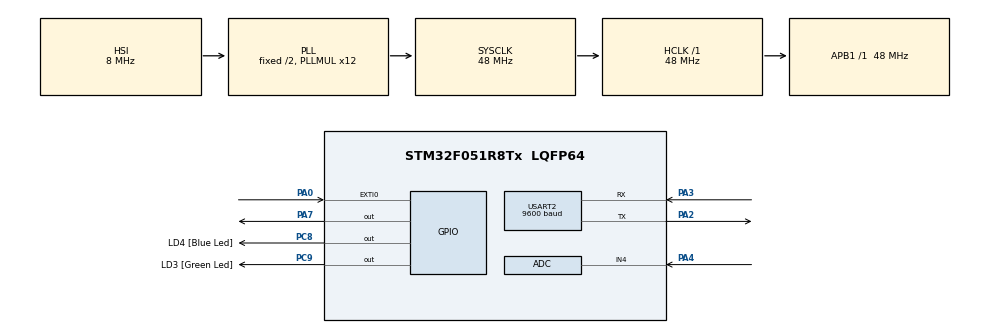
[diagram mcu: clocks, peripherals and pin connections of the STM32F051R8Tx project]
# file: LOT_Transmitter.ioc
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ADC.Resolution=ADC_RESOLUTION_8B
Mcu.Family=STM32F0
Mcu.Name=STM32F051R8Tx
Mcu.Package=LQFP64
NVIC.EXTI0_1_IRQn=true\:0\:0\:false\:false\:true\:true\:true\:true
NVIC.TIM3_IRQn=true\:0\:0\:false\:false\:true\:true\:true\:true
NVIC.USART2_IRQn=true\:0\:0\:false\:false\:true\:true\:true\:true
PA0.Signal=GPXTI0
PA13.GPIO_Label=SWDIO
PA13.Mode=Serial_Wire
PA13.Signal=SYS_SWDIO
PA14.GPIO_Label=SWCLK
PA14.Mode=Serial_Wire
PA14.Signal=SYS_SWCLK
PA2.Mode=Asynchronous
PA2.Signal=USART2_TX
PA3.Mode=Asynchronous
PA3.Signal=USART2_RX
PA4.Mode=IN4
PA4.Signal=ADC_IN4
PA7.GPIO_PuPd=GPIO_PULLDOWN
PA7.Signal=GPIO_Output
PC8.GPIO_Label=LD4 [Blue Led]
PC8.Signal=GPIO_Output
PC9.GPIO_Label=LD3 [Green Led]
PC9.Signal=GPIO_Output
ProjectManager.HeapSize=0x200
ProjectManager.StackSize=0x400
ProjectManager.TargetToolchain=STM32CubeIDE
RCC.AHBFreq_Value=48000000
RCC.APB1Freq_Value=48000000
RCC.APB1TimFreq_Value=48000000
RCC.HCLKFreq_Value=48000000
RCC.PLLMUL=RCC_PLL_MUL12
RCC.SYSCLKFreq_VALUE=48000000
RCC.SYSCLKSource=RCC_SYSCLKSOURCE_PLLCLK
TIM3.Period=10000
TIM3.Prescaler=4799
USART2.BaudRate=9600
USART2.VirtualMode-Asynchronous=VM_ASYNC
VP_TIM3_VS_ClockSourceINT.Mode=Internal
board=STM32F0DISCOVERY

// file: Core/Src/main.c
/* USER CODE BEGIN Header */
/**
  ******************************************************************************
  * @file           : main.c
  * @brief          : Main program body
  ******************************************************************************
  * @attention
  *
  * Copyright (c) 2022 STMicroelectronics.
  * All rights reserved.
  *
  * This software is licensed under terms that can be found in the LICENSE file
  * in the root directory of this software component.
  * If no LICENSE file comes with this software, it is provided AS-IS.
  *
  ******************************************************************************
  */
/* USER CODE END Header */
#include "main.h"

/* USER CODE BEGIN PD */

#define ADC_SAMPLE 1
#define NO_CHANGE 2
#define CHECKPOINT 3

#define BAUD_RATE 2

/* USER CODE END PD */

ADC_HandleTypeDef hadc;

TIM_HandleTypeDef htim3;

UART_HandleTypeDef huart2;

void SystemClock_Config(void);
static void MX_GPIO_Init(void);
static void MX_ADC_Init(void);
static void MX_USART2_UART_Init(void);
static void MX_TIM3_Init(void);
/* USER CODE BEGIN PFP */
void EXTI0_1_IRQHandler(void);
void TIM3_IRQHandler(void);
uint32_t pollADC(void);
/* USER CODE END PFP */

/* USER CODE BEGIN 0 */

// Global Variables

uint8_t buffer[64];

uint8_t MessageIndex = 0;
uint8_t MessageType = ADC_SAMPLE;
uint8_t Message[12];

int MessageCount = 0; //Counts the number of messages/ samples
uint8_t LastMessageVal=0;

int ButtonTime = 0;
uint8_t Bounce = 0;

uint16_t ARR = (10000/BAUD_RATE) - 1;

/* USER CODE END 0 */

int main(void)
{

  /* MCU Configuration--------------------------------------------------------*/

  /* Reset of all peripherals, Initializes the Flash interface and the Systick. */
  HAL_Init();

  /* Configure the system clock */
  SystemClock_Config();

  /* Initialize all configured peripherals */
  MX_GPIO_Init();
  MX_ADC_Init();
  MX_USART2_UART_Init();
  MX_TIM3_Init();

  /* Infinite loop */
  while (1)
  {

  }
}

void SystemClock_Config(void)
{
  RCC_OscInitTypeDef RCC_OscInitStruct = {0};
  RCC_ClkInitTypeDef RCC_ClkInitStruct = {0};

  /** Initializes the RCC Oscillators according to the specified parameters
  * in the RCC_OscInitTypeDef structure.
  */
  RCC_OscInitStruct.OscillatorType = RCC_OSCILLATORTYPE_HSI|RCC_OSCILLATORTYPE_HSI14;
  RCC_OscInitStruct.HSIState = RCC_HSI_ON;
  RCC_OscInitStruct.HSI14State = RCC_HSI14_ON;
  RCC_OscInitStruct.HSICalibrationValue = RCC_HSICALIBRATION_DEFAULT;
  RCC_OscInitStruct.HSI14CalibrationValue = 16;
  RCC_OscInitStruct.PLL.PLLState = RCC_PLL_ON;
  RCC_OscInitStruct.PLL.PLLSource = RCC_PLLSOURCE_HSI;
  RCC_OscInitStruct.PLL.PLLMUL = RCC_PLL_MUL12;
  RCC_OscInitStruct.PLL.PREDIV = RCC_PREDIV_DIV1;
  if (HAL_RCC_OscConfig(&RCC_OscInitStruct) != HAL_OK)
  {
    Error_Handler();
  }

  /** Initializes the CPU, AHB and APB buses clocks
  */
  RCC_ClkInitStruct.ClockType = RCC_CLOCKTYPE_HCLK|RCC_CLOCKTYPE_SYSCLK
                              |RCC_CLOCKTYPE_PCLK1;
  RCC_ClkInitStruct.SYSCLKSource = RCC_SYSCLKSOURCE_PLLCLK;
  RCC_ClkInitStruct.AHBCLKDivider = RCC_SYSCLK_DIV1;
  RCC_ClkInitStruct.APB1CLKDivider = RCC_HCLK_DIV1;

  if (HAL_RCC_ClockConfig(&RCC_ClkInitStruct, FLASH_LATENCY_1) != HAL_OK)
  {
    Error_Handler();
  }
}

static void MX_ADC_Init(void)
{

  ADC_ChannelConfTypeDef sConfig = {0};

  /** Configure the global features of the ADC (Clock, Resolution, Data Alignment and number of conversion)
  */
  hadc.Instance = ADC1;
  hadc.Init.ClockPrescaler = ADC_CLOCK_ASYNC_DIV1;
  hadc.Init.Resolution = ADC_RESOLUTION_8B;
  hadc.Init.DataAlign = ADC_DATAALIGN_RIGHT;
  hadc.Init.ScanConvMode = ADC_SCAN_DIRECTION_FORWARD;
  hadc.Init.EOCSelection = ADC_EOC_SINGLE_CONV;
  hadc.Init.LowPowerAutoWait = DISABLE;
  hadc.Init.LowPowerAutoPowerOff = DISABLE;
  hadc.Init.ContinuousConvMode = DISABLE;
  hadc.Init.DiscontinuousConvMode = DISABLE;
  hadc.Init.ExternalTrigConv = ADC_SOFTWARE_START;
  hadc.Init.ExternalTrigConvEdge = ADC_EXTERNALTRIGCONVEDGE_NONE;
  hadc.Init.DMAContinuousRequests = DISABLE;
  hadc.Init.Overrun = ADC_OVR_DATA_PRESERVED;
  if (HAL_ADC_Init(&hadc) != HAL_OK)
  {
    Error_Handler();
  }

  /** Configure for the selected ADC regular channel to be converted.
  */
  sConfig.Channel = ADC_CHANNEL_4;
  sConfig.Rank = ADC_RANK_CHANNEL_NUMBER;
  sConfig.SamplingTime = ADC_SAMPLETIME_1CYCLE_5;
  if (HAL_ADC_ConfigChannel(&hadc, &sConfig) != HAL_OK)
  {
    Error_Handler();
  }

}

static void MX_TIM3_Init(void)
{

  TIM_ClockConfigTypeDef sClockSourceConfig = {0};
  TIM_MasterConfigTypeDef sMasterConfig = {0};

  htim3.Instance = TIM3;
  htim3.Init.Prescaler = 4799;
  htim3.Init.CounterMode = TIM_COUNTERMODE_UP;
  htim3.Init.Period = ARR;
  htim3.Init.ClockDivision = TIM_CLOCKDIVISION_DIV1;
  htim3.Init.AutoReloadPreload = TIM_AUTORELOAD_PRELOAD_DISABLE;
  if (HAL_TIM_Base_Init(&htim3) != HAL_OK)
  {
    Error_Handler();
  }
  sClockSourceConfig.ClockSource = TIM_CLOCKSOURCE_INTERNAL;
  if (HAL_TIM_ConfigClockSource(&htim3, &sClockSourceConfig) != HAL_OK)
  {
    Error_Handler();
  }
  sMasterConfig.MasterOutputTrigger = TIM_TRGO_RESET;
  sMasterConfig.MasterSlaveMode = TIM_MASTERSLAVEMODE_DISABLE;
  if (HAL_TIMEx_MasterConfigSynchronization(&htim3, &sMasterConfig) != HAL_OK)
  {
    Error_Handler();
  }

}

static void MX_USART2_UART_Init(void)
{

  huart2.Instance = USART2;
  huart2.Init.BaudRate = 9600;
  huart2.Init.WordLength = UART_WORDLENGTH_8B;
  huart2.Init.StopBits = UART_STOPBITS_1;
  huart2.Init.Parity = UART_PARITY_NONE;
  huart2.Init.Mode = UART_MODE_TX_RX;
  huart2.Init.HwFlowCtl = UART_HWCONTROL_NONE;
  huart2.Init.OverSampling = UART_OVERSAMPLING_16;
  huart2.Init.OneBitSampling = UART_ONE_BIT_SAMPLE_DISABLE;
  huart2.AdvancedInit.AdvFeatureInit = UART_ADVFEATURE_NO_INIT;
  if (HAL_UART_Init(&huart2) != HAL_OK)
  {
    Error_Handler();
  }

}

static void MX_GPIO_Init(void)
{
  GPIO_InitTypeDef GPIO_InitStruct = {0};

  /* GPIO Ports Clock Enable */
  __HAL_RCC_GPIOA_CLK_ENABLE();
  __HAL_RCC_GPIOC_CLK_ENABLE();

  /*Configure GPIO pin Output Level */
  HAL_GPIO_WritePin(GPIOA, GPIO_PIN_7, GPIO_PIN_RESET);

  /*Configure GPIO pin Output Level */
  HAL_GPIO_WritePin(GPIOC, LD4_Pin|LD3_Pin, GPIO_PIN_RESET);

  /*Configure GPIO pin : PA0 */
  GPIO_InitStruct.Pin = GPIO_PIN_0;
  GPIO_InitStruct.Mode = GPIO_MODE_IT_RISING;
  GPIO_InitStruct.Pull = GPIO_NOPULL;
  HAL_GPIO_Init(GPIOA, &GPIO_InitStruct);

  /*Configure GPIO pin : PA7 */
  GPIO_InitStruct.Pin = GPIO_PIN_7;
  GPIO_InitStruct.Mode = GPIO_MODE_OUTPUT_PP;
  GPIO_InitStruct.Pull = GPIO_PULLDOWN;
  GPIO_InitStruct.Speed = GPIO_SPEED_FREQ_LOW;
  HAL_GPIO_Init(GPIOA, &GPIO_InitStruct);

  /*Configure GPIO pins : LD4_Pin LD3_Pin */
  GPIO_InitStruct.Pin = LD4_Pin|LD3_Pin;
  GPIO_InitStruct.Mode = GPIO_MODE_OUTPUT_PP;
  GPIO_InitStruct.Pull = GPIO_NOPULL;
  GPIO_InitStruct.Speed = GPIO_SPEED_FREQ_LOW;
  HAL_GPIO_Init(GPIOC, &GPIO_InitStruct);

  /* EXTI interrupt init*/
  HAL_NVIC_SetPriority(EXTI0_1_IRQn, 0, 0);
  HAL_NVIC_EnableIRQ(EXTI0_1_IRQn);

}

/* USER CODE BEGIN 4 */

void TIM3_IRQHandler(void)
{
  /* USER CODE BEGIN TIM3_IRQn 0 */

  HAL_TIM_IRQHandler(&htim3);
  //Stops the timer and the interruppt
  SendData();

  //Send data to a GPIO pin

/* USER CODE END TIM3_IRQn 0 */
/* USER CODE BEGIN TIM3_IRQn 1 */

  /* USER CODE END TIM3_IRQn 1 */
}

void EXTI0_1_IRQHandler(void)
{
  /* USER CODE BEGIN EXTI0_1_IRQn 0 */

  /* USER CODE END EXTI0_1_IRQn 0 */
  HAL_GPIO_EXTI_IRQHandler(GPIO_PIN_0);

  	if(HAL_GetTick() - ButtonTime > 300)
  	{
  		Bounce = 0;
  	}

  	if(Bounce == 0)
  	{
  		MessageCount++;  //Increment the number of messages sent

  		int val = pollADC();

  		sprintf(buffer, "Sensor Reading %d\n\r", val);
  		HAL_UART_Transmit(&huart2, buffer, sizeof(buffer), 1000);

  		MessageIndex = 0;
  		Message[0] = 1;		// Start Bit

  		MessageType = CheckMessageType(val); // Call the function to check the message type
  					// Set the last message val to the current value
  		LastMessageVal = val;
  		sprintf(buffer, "Message type:  %d\n\r", MessageType);
  		HAL_UART_Transmit(&huart2, buffer, sizeof(buffer), 1000);

  		if(MessageType == ADC_SAMPLE)
  		{
  			Message[1] = 0; // using chars for UART not the best method.
  			Message[2] = 0;
  		}
  		else if(MessageType == NO_CHANGE)
  		{
  			Message[1] = 0;
  			Message[2] = 1;
  		}
  		else if(MessageType == CHECKPOINT)
  		{
  			Message[1] = 1;
  			Message[2] = 0;
  		}

  		for(int i = 10; i > 2; i--)
  		{
  			Message[i] = (val%2);
  			val = val/2;
  		}
  		Message[11] = '\0'; // Terminating character
//  		clear(buffer);
//  		sprintf(buffer, "Message %s\n\r", ASCII(Message));
//  		HAL_UART_Transmit(&huart2, buffer, sizeof(buffer), 1000);
  		HAL_TIM_Base_Start_IT(&htim3);

  	}

  	ButtonTime = HAL_GetTick();
  	Bounce = 1;

  /* USER CODE BEGIN EXTI0_1_IRQn 1 */

  /* USER CODE END EXTI0_1_IRQn 1 */
}

int CheckMessageType(int val){
	//If the message count is a multiple of 10 then set the message type to CHECKPOINT
	if ((MessageCount%10) == 0){

		return CHECKPOINT;

	}else{
		// If it is not a checkpoint and the ADC value has not changed then set the MT to NO_CHANGE
	if(val==LastMessageVal){

		return NO_CHANGE;
	}else{
		//Else if it is not a checkpoint and the ADC value has changed set the MT to ADC_SAMPLE
			return ADC_SAMPLE;
		}}
}

uint32_t pollADC(void){
	//TO DO:
	//TASK 2
	int val = 0;

	HAL_ADC_Start(&hadc);
	HAL_ADC_PollForConversion(&hadc, 100);
	val = HAL_ADC_GetValue(&hadc);
	HAL_ADC_Stop(&hadc);

	return val;
}

void SendData(void){
//Send data to a GPIO pin

//
	HAL_TIM_Base_Start_IT(&htim3);

  	if (MessageIndex<12){

  		//If the message is a No change its length is only 3 so the timer must be disabled after 3 iterations
  		if((MessageType == NO_CHANGE)&&(MessageIndex > 2)){

  			//Turn the LED off
  			HAL_GPIO_WritePin(GPIOA, GPIO_PIN_7, 0);
  			//Stops the timer and the interupt
  			HAL_TIM_Base_Stop_IT(&htim3);

  		}else{

  			 //Displays the current bit to the serial monitor
  			clear(buffer);
  			sprintf(buffer, "Bit sent  %d\n\r", Message[MessageIndex]);
  			HAL_UART_Transmit(&huart2, buffer, sizeof(buffer), 1000);
  			HAL_GPIO_WritePin(GPIOA, GPIO_PIN_7, Message[MessageIndex]);

  			//If the previous condtions are met the Start the interrupt timer.

  		}

  	}else{

//  		//turn off the led
//  		HAL_GPIO_WritePin(GPIOA, GPIO_PIN_7, 0);
  		//Stops the timer and the interupt
  		HAL_TIM_Base_Stop_IT(&htim3);
  	}

      	//Increases the message index
      	MessageIndex++;

}

//void ASCII(char* buffer)
//{
//	int i = 0;
//	while(i != 10)
//	{
//		buffer[i] += 48;
//		i++;
//	}
//
//}

void clear(char*buffer)
{
	int i = 0;
	while(buffer[i]!='\0')
	{
		buffer[i] = '\0';
		i++;
	}
}

/* USER CODE END 4 */

void Error_Handler(void)
{
  __disable_irq();
  while (1)
  {
  }
}
